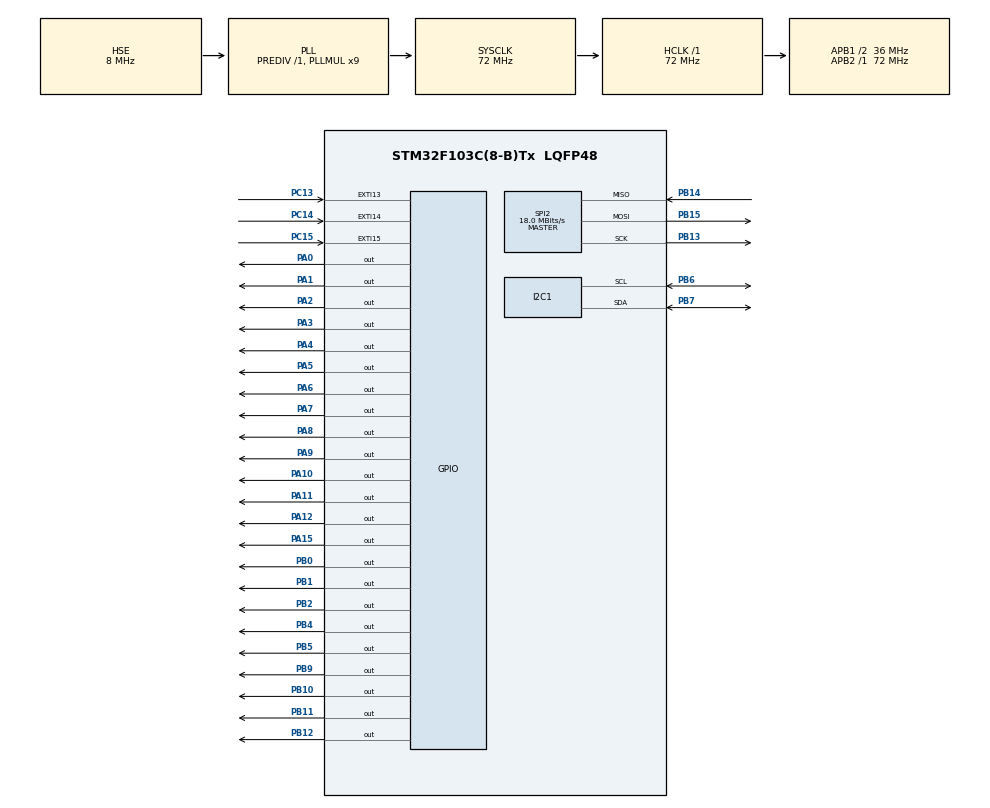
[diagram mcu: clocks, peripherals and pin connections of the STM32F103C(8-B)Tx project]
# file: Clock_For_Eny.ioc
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FREERTOS.INCLUDE_eTaskGetState=0
FREERTOS.INCLUDE_xTaskGetCurrentTaskHandle=1
FREERTOS.Mutexes01=mutexControlI2C,Dynamic,NULL
FREERTOS.Tasks01=mainTask,0,256,MainTaskFunction,Default,NULL,Dynamic,NULL,NULL;slideTask,-1,256,SlideTaskFunction,Default,NULL,Dynamic,NULL,NULL;ActionTask,1,256,ActionTaskFunction,Default,NULL,Dynamic,NULL,NULL;TFTgateKeeperTask,3,256,TFTgateKeeperTaskFunction,Default,NULL,Dynamic,NULL,NULL
FREERTOS.Timers01=countdownTimer,countdownTimerCallBack,osTimerPeriodic,Default,NULL,Dynamic,NULL
FREERTOS.configMAX_TASK_NAME_LEN=30
FREERTOS.configMINIMAL_STACK_SIZE=256
FREERTOS.configTIMER_QUEUE_LENGTH=5
FREERTOS.configTIMER_TASK_PRIORITY=6
FREERTOS.configTIMER_TASK_STACK_DEPTH=256
FREERTOS.configTOTAL_HEAP_SIZE=8000
FREERTOS.configUSE_TIMERS=1
I2C1.I2C_Mode=I2C_Fast
Mcu.Family=STM32F1
Mcu.Name=STM32F103C(8-B)Tx
Mcu.Package=LQFP48
NVIC.EXTI15_10_IRQn=true\:5\:0\:false\:false\:true\:true\:true
NVIC.PriorityGroup=NVIC_PRIORITYGROUP_4
NVIC.TIM2_IRQn=true\:0\:0\:false\:false\:true\:false\:false
NVIC.TimeBase=TIM2_IRQn
NVIC.TimeBaseIP=TIM2
PA0-WKUP.GPIO_ModeDefaultOutputPP=GPIO_MODE_OUTPUT_PP
PA0-WKUP.GPIO_Speed=GPIO_SPEED_FREQ_HIGH
PA0-WKUP.PinState=GPIO_PIN_RESET
PA0-WKUP.Signal=GPIO_Output
PA1.GPIO_ModeDefaultOutputPP=GPIO_MODE_OUTPUT_PP
PA1.GPIO_Speed=GPIO_SPEED_FREQ_HIGH
PA1.PinState=GPIO_PIN_RESET
PA1.Signal=GPIO_Output
PA10.GPIO_ModeDefaultOutputPP=GPIO_MODE_OUTPUT_PP
PA10.GPIO_Speed=GPIO_SPEED_FREQ_HIGH
PA10.PinState=GPIO_PIN_RESET
PA10.Signal=GPIO_Output
PA11.GPIO_ModeDefaultOutputPP=GPIO_MODE_OUTPUT_PP
PA11.GPIO_Speed=GPIO_SPEED_FREQ_HIGH
PA11.PinState=GPIO_PIN_RESET
PA11.Signal=GPIO_Output
PA12.GPIO_ModeDefaultOutputPP=GPIO_MODE_OUTPUT_PP
PA12.GPIO_Speed=GPIO_SPEED_FREQ_HIGH
PA12.PinState=GPIO_PIN_RESET
PA12.Signal=GPIO_Output
PA13.Mode=Serial_Wire
PA13.Signal=SYS_JTMS-SWDIO
PA14.Mode=Serial_Wire
PA14.Signal=SYS_JTCK-SWCLK
PA15.GPIO_ModeDefaultOutputPP=GPIO_MODE_OUTPUT_PP
PA15.GPIO_Speed=GPIO_SPEED_FREQ_HIGH
PA15.PinState=GPIO_PIN_SET
PA15.Signal=GPIO_Output
PA2.GPIO_ModeDefaultOutputPP=GPIO_MODE_OUTPUT_PP
PA2.GPIO_Speed=GPIO_SPEED_FREQ_HIGH
PA2.PinState=GPIO_PIN_RESET
PA2.Signal=GPIO_Output
PA3.GPIO_ModeDefaultOutputPP=GPIO_MODE_OUTPUT_PP
PA3.GPIO_Speed=GPIO_SPEED_FREQ_HIGH
PA3.PinState=GPIO_PIN_RESET
PA3.Signal=GPIO_Output
PA4.GPIO_ModeDefaultOutputPP=GPIO_MODE_OUTPUT_PP
PA4.GPIO_Speed=GPIO_SPEED_FREQ_HIGH
PA4.PinState=GPIO_PIN_RESET
PA4.Signal=GPIO_Output
PA5.GPIO_ModeDefaultOutputPP=GPIO_MODE_OUTPUT_PP
PA5.GPIO_Speed=GPIO_SPEED_FREQ_HIGH
PA5.PinState=GPIO_PIN_RESET
PA5.Signal=GPIO_Output
PA6.GPIO_ModeDefaultOutputPP=GPIO_MODE_OUTPUT_PP
PA6.GPIO_Speed=GPIO_SPEED_FREQ_HIGH
PA6.PinState=GPIO_PIN_RESET
PA6.Signal=GPIO_Output
PA7.GPIO_ModeDefaultOutputPP=GPIO_MODE_OUTPUT_PP
PA7.GPIO_Speed=GPIO_SPEED_FREQ_HIGH
PA7.PinState=GPIO_PIN_RESET
PA7.Signal=GPIO_Output
PA8.GPIO_ModeDefaultOutputPP=GPIO_MODE_OUTPUT_PP
PA8.GPIO_Speed=GPIO_SPEED_FREQ_HIGH
PA8.PinState=GPIO_PIN_RESET
PA8.Signal=GPIO_Output
PA9.GPIO_ModeDefaultOutputPP=GPIO_MODE_OUTPUT_PP
PA9.GPIO_Speed=GPIO_SPEED_FREQ_HIGH
PA9.PinState=GPIO_PIN_RESET
PA9.Signal=GPIO_Output
PB0.GPIO_ModeDefaultOutputPP=GPIO_MODE_OUTPUT_PP
PB0.GPIO_Speed=GPIO_SPEED_FREQ_HIGH
PB0.PinState=GPIO_PIN_RESET
PB0.Signal=GPIO_Output
PB1.GPIO_ModeDefaultOutputPP=GPIO_MODE_OUTPUT_PP
PB1.GPIO_Speed=GPIO_SPEED_FREQ_HIGH
PB1.PinState=GPIO_PIN_RESET
PB1.Signal=GPIO_Output
PB10.GPIO_ModeDefaultOutputPP=GPIO_MODE_OUTPUT_PP
PB10.GPIO_Speed=GPIO_SPEED_FREQ_HIGH
PB10.PinState=GPIO_PIN_RESET
PB10.Signal=GPIO_Output
PB11.GPIO_ModeDefaultOutputPP=GPIO_MODE_OUTPUT_PP
PB11.GPIO_Speed=GPIO_SPEED_FREQ_HIGH
PB11.PinState=GPIO_PIN_RESET
PB11.Signal=GPIO_Output
PB12.GPIO_ModeDefaultOutputPP=GPIO_MODE_OUTPUT_PP
PB12.GPIO_Speed=GPIO_SPEED_FREQ_HIGH
PB12.PinState=GPIO_PIN_RESET
PB12.Signal=GPIO_Output
PB13.Mode=Full_Duplex_Master
PB13.Signal=SPI2_SCK
PB14.Mode=Full_Duplex_Master
PB14.Signal=SPI2_MISO
PB15.Mode=Full_Duplex_Master
PB15.Signal=SPI2_MOSI
PB2.GPIO_ModeDefaultOutputPP=GPIO_MODE_OUTPUT_PP
PB2.GPIO_Speed=GPIO_SPEED_FREQ_HIGH
PB2.PinState=GPIO_PIN_RESET
PB2.Signal=GPIO_Output
PB4.GPIO_ModeDefaultOutputPP=GPIO_MODE_OUTPUT_PP
PB4.GPIO_Speed=GPIO_SPEED_FREQ_HIGH
PB4.PinState=GPIO_PIN_RESET
PB4.Signal=GPIO_Output
PB5.GPIO_ModeDefaultOutputPP=GPIO_MODE_OUTPUT_PP
PB5.GPIO_Speed=GPIO_SPEED_FREQ_HIGH
PB5.PinState=GPIO_PIN_RESET
PB5.Signal=GPIO_Output
PB6.Mode=I2C
PB6.Signal=I2C1_SCL
PB7.Mode=I2C
PB7.Signal=I2C1_SDA
PB9.GPIO_ModeDefaultOutputPP=GPIO_MODE_OUTPUT_PP
PB9.GPIO_Speed=GPIO_SPEED_FREQ_HIGH
PB9.PinState=GPIO_PIN_RESET
PB9.Signal=GPIO_Output
PC13-TAMPER-RTC.Signal=GPXTI13
PC14-OSC32_IN.Signal=GPXTI14
PC15-OSC32_OUT.Signal=GPXTI15
PD0-OSC_IN.Mode=HSE-External-Oscillator
PD0-OSC_IN.Signal=RCC_OSC_IN
PD1-OSC_OUT.Mode=HSE-External-Oscillator
PD1-OSC_OUT.Signal=RCC_OSC_OUT
ProjectManager.HeapSize=0x200
ProjectManager.StackSize=0x400
ProjectManager.TargetToolchain=SW4STM32
RCC.AHBFreq_Value=72000000
RCC.APB1CLKDivider=RCC_HCLK_DIV2
RCC.APB1Freq_Value=36000000
RCC.APB1TimFreq_Value=72000000
RCC.APB2Freq_Value=72000000
RCC.APB2TimFreq_Value=72000000
RCC.HCLKFreq_Value=72000000
RCC.PLLMUL=RCC_PLL_MUL9
RCC.PLLSourceVirtual=RCC_PLLSOURCE_HSE
RCC.SYSCLKFreq_VALUE=72000000
RCC.SYSCLKSource=RCC_SYSCLKSOURCE_PLLCLK
RCC.USBFreq_Value=72000000
SPI2.BaudRatePrescaler=SPI_BAUDRATEPRESCALER_2
SPI2.CalculateBaudRate=18.0 MBits/s
SPI2.Direction=SPI_DIRECTION_2LINES
SPI2.Mode=SPI_MODE_MASTER
SPI2.VirtualType=VM_MASTER
VP_FREERTOS_VS_ENABLE.Mode=Enabled
VP_SYS_VS_tim2.Mode=TIM2
board=Clock_For_Eny

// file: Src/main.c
/**
 ******************************************************************************
 * File Name          : main.c
 * Description        : Main program body
 ******************************************************************************
 * This notice applies to any and all portions of this file
 * that are not between comment pairs USER CODE BEGIN and
 * USER CODE END. Other portions of this file, whether
 * inserted by the user or by software development tools
 * are owned by their respective copyright owners.
 *
 * Copyright (c) 2017 STMicroelectronics International N.V.
 * All rights reserved.
 *
 * Redistribution and use in source and binary forms, with or without
 * modification, are permitted, provided that the following conditions are met:
 *
 * 1. Redistribution of source code must retain the above copyright notice,
 *    this list of conditions and the following disclaimer.
 * 2. Redistributions in binary form must reproduce the above copyright notice,
 *    this list of conditions and the following disclaimer in the documentation
 *    and/or other materials provided with the distribution.
 * 3. Neither the name of STMicroelectronics nor the names of other
 *    contributors to this software may be used to endorse or promote products
 *    derived from this software without specific written permission.
 * 4. This software, including modifications and/or derivative works of this
 *    software, must execute solely and exclusively on microcontroller or
 *    microprocessor devices manufactured by or for STMicroelectronics.
 * 5. Redistribution and use of this software other than as permitted under
 *    this license is void and will automatically terminate your rights under
 *    this license.
 *
 * THIS SOFTWARE IS PROVIDED BY STMICROELECTRONICS AND CONTRIBUTORS "AS IS"
 * AND ANY EXPRESS, IMPLIED OR STATUTORY WARRANTIES, INCLUDING, BUT NOT
 * LIMITED TO, THE IMPLIED WARRANTIES OF MERCHANTABILITY, FITNESS FOR A
 * PARTICULAR PURPOSE AND NON-INFRINGEMENT OF THIRD PARTY INTELLECTUAL PROPERTY
 * RIGHTS ARE DISCLAIMED TO THE FULLEST EXTENT PERMITTED BY LAW. IN NO EVENT
 * SHALL STMICROELECTRONICS OR CONTRIBUTORS BE LIABLE FOR ANY DIRECT, INDIRECT,
 * INCIDENTAL, SPECIAL, EXEMPLARY, OR CONSEQUENTIAL DAMAGES (INCLUDING, BUT NOT
 * LIMITED TO, PROCUREMENT OF SUBSTITUTE GOODS OR SERVICES; LOSS OF USE, DATA,
 * OR PROFITS; OR BUSINESS INTERRUPTION) HOWEVER CAUSED AND ON ANY THEORY OF
 * LIABILITY, WHETHER IN CONTRACT, STRICT LIABILITY, OR TORT (INCLUDING
 * NEGLIGENCE OR OTHERWISE) ARISING IN ANY WAY OUT OF THE USE OF THIS SOFTWARE,
 * EVEN IF ADVISED OF THE POSSIBILITY OF SUCH DAMAGE.
 *
 ******************************************************************************
 */

#include "main.h"
#include "stm32f1xx_hal.h"
#include "cmsis_os.h"
#include "i2c.h"
#include "spi.h"
#include "gpio.h"

/* USER CODE BEGIN Includes */

/* TFT LCD 240x320 using 9341 driver chip */
#include	"tft9341.h"

#include	"hdc1080.h"

#include	"Application.h"
/* USER CODE END Includes */

/* USER CODE BEGIN PV */
/* Private variables ---------------------------------------------------------*/
extern uint16_t BACK_COLOR,POINT_COLOR ;

W25QXX_Handle_TypeDef flash_64kbits = { &hspi2, GPIOA, GPIO_PIN_15 };
EClock_HandleTypeDef eClock_HandleTypeDef;

/* USER CODE END PV */

void SystemClock_Config(void);
void MX_FREERTOS_Init(void);

/* USER CODE BEGIN PFP */
/* Private function prototypes -----------------------------------------------*/

/* USER CODE END PFP */

int main(void)
{

	/* MCU Configuration----------------------------------------------------------*/

	/* Reset of all peripherals, Initializes the Flash interface and the Systick. */
	HAL_Init();

	/* Configure the system clock */
	SystemClock_Config();

	/* Initialize all configured peripherals */
	MX_GPIO_Init();
	MX_SPI2_Init();
	MX_I2C1_Init();

	/* USER CODE BEGIN 2 */
	tft_init();
	POINT_COLOR = TIME_DISPLAY_COLOR;
	BACK_COLOR = BACKGROUND_COLOR;

	hdc1080_init(&hi2c1, Temperature_Resolution_14_bit, Humidity_Resolution_14_bit);

	/* Eclock handle Init */
	eClock_HandleTypeDef.eClockHardware.Speaker_Port = SPEAKER_PORT;
	eClock_HandleTypeDef.eClockHardware.Speaker_Pin = SPEAKER_PIN;

	eClock_HandleTypeDef.eClockHardware.BT_Mode_Port = BT_MODE_PORT;
	eClock_HandleTypeDef.eClockHardware.BT_Mode_Pin = BT_MODE_PIN;

	eClock_HandleTypeDef.eClockHardware.BT_Up_Port = BT_UP_PORT;
	eClock_HandleTypeDef.eClockHardware.BT_Up_Pin = BT_UP_PIN;

	eClock_HandleTypeDef.eClockHardware.BT_Down_Port = BT_DOWN_PORT;
	eClock_HandleTypeDef.eClockHardware.BT_Down_Pin = BT_DOWN_PIN;

	eClock_HandleTypeDef.eClockMode = EClockMode_Normal;
	eClock_HandleTypeDef.eClockSystemState = EClockSystemState_Start;

	eClock_HandleTypeDef.eflash = &flash_64kbits;

	eClock_HandleTypeDef.eperiod_read_temhumi = PERIOD_READ_TEMP_HUMI;
	eClock_HandleTypeDef.eperiod_read_time = PERIOD_READ_TIME;

	for(uint8_t index = 0; index < 7; index ++)
	{
		*(eClock_HandleTypeDef.etime_value + index) = 0xff;
	}

	/* USER CODE END 2 */

	/* Call init function for freertos objects (in freertos.c) */
	MX_FREERTOS_Init();

	/* Start scheduler */
	osKernelStart();

	/* We should never get here as control is now taken by the scheduler */

	/* Infinite loop */
	while (1)
	{

	}

}

/** System Clock Configuration
 */
void SystemClock_Config(void)
{

	RCC_OscInitTypeDef RCC_OscInitStruct;
	RCC_ClkInitTypeDef RCC_ClkInitStruct;

	/**Initializes the CPU, AHB and APB busses clocks
	 */
	RCC_OscInitStruct.OscillatorType = RCC_OSCILLATORTYPE_HSE;
	RCC_OscInitStruct.HSEState = RCC_HSE_ON;
	RCC_OscInitStruct.HSEPredivValue = RCC_HSE_PREDIV_DIV1;
	RCC_OscInitStruct.HSIState = RCC_HSI_ON;
	RCC_OscInitStruct.PLL.PLLState = RCC_PLL_ON;
	RCC_OscInitStruct.PLL.PLLSource = RCC_PLLSOURCE_HSE;
	RCC_OscInitStruct.PLL.PLLMUL = RCC_PLL_MUL9;
	if (HAL_RCC_OscConfig(&RCC_OscInitStruct) != HAL_OK)
	{
		_Error_Handler(__FILE__, __LINE__);
	}

	/**Initializes the CPU, AHB and APB busses clocks
	 */
	RCC_ClkInitStruct.ClockType = RCC_CLOCKTYPE_HCLK|RCC_CLOCKTYPE_SYSCLK
			|RCC_CLOCKTYPE_PCLK1|RCC_CLOCKTYPE_PCLK2;
	RCC_ClkInitStruct.SYSCLKSource = RCC_SYSCLKSOURCE_PLLCLK;
	RCC_ClkInitStruct.AHBCLKDivider = RCC_SYSCLK_DIV1;
	RCC_ClkInitStruct.APB1CLKDivider = RCC_HCLK_DIV2;
	RCC_ClkInitStruct.APB2CLKDivider = RCC_HCLK_DIV1;

	if (HAL_RCC_ClockConfig(&RCC_ClkInitStruct, FLASH_LATENCY_2) != HAL_OK)
	{
		_Error_Handler(__FILE__, __LINE__);
	}

	/**Configure the Systick interrupt time
	 */
	HAL_SYSTICK_Config(HAL_RCC_GetHCLKFreq()/1000);

	/**Configure the Systick
	 */
	HAL_SYSTICK_CLKSourceConfig(SYSTICK_CLKSOURCE_HCLK);

	/* SysTick_IRQn interrupt configuration */
	HAL_NVIC_SetPriority(SysTick_IRQn, 15, 0);
}

void HAL_TIM_PeriodElapsedCallback(TIM_HandleTypeDef *htim)
{
	if (htim->Instance == TIM2) {
		HAL_IncTick();
	}
}

void _Error_Handler(char * file, int line)
{
	while(1)
	{
	}
}

/************************ (C) COPYRIGHT STMicroelectronics *****END OF FILE****/

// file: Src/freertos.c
/**
 ******************************************************************************
 * File Name          : freertos.c
 * Description        : Code for freertos applications
 ******************************************************************************
 * This notice applies to any and all portions of this file
 * that are not between comment pairs USER CODE BEGIN and
 * USER CODE END. Other portions of this file, whether
 * inserted by the user or by software development tools
 * are owned by their respective copyright owners.
 *
 * Copyright (c) 2017 STMicroelectronics International N.V.
 * All rights reserved.
 *
 * Redistribution and use in source and binary forms, with or without
 * modification, are permitted, provided that the following conditions are met:
 *
 * 1. Redistribution of source code must retain the above copyright notice,
 *    this list of conditions and the following disclaimer.
 * 2. Redistributions in binary form must reproduce the above copyright notice,
 *    this list of conditions and the following disclaimer in the documentation
 *    and/or other materials provided with the distribution.
 * 3. Neither the name of STMicroelectronics nor the names of other
 *    contributors to this software may be used to endorse or promote products
 *    derived from this software without specific written permission.
 * 4. This software, including modifications and/or derivative works of this
 *    software, must execute solely and exclusively on microcontroller or
 *    microprocessor devices manufactured by or for STMicroelectronics.
 * 5. Redistribution and use of this software other than as permitted under
 *    this license is void and will automatically terminate your rights under
 *    this license.
 *
 * THIS SOFTWARE IS PROVIDED BY STMICROELECTRONICS AND CONTRIBUTORS "AS IS"
 * AND ANY EXPRESS, IMPLIED OR STATUTORY WARRANTIES, INCLUDING, BUT NOT
 * LIMITED TO, THE IMPLIED WARRANTIES OF MERCHANTABILITY, FITNESS FOR A
 * PARTICULAR PURPOSE AND NON-INFRINGEMENT OF THIRD PARTY INTELLECTUAL PROPERTY
 * RIGHTS ARE DISCLAIMED TO THE FULLEST EXTENT PERMITTED BY LAW. IN NO EVENT
 * SHALL STMICROELECTRONICS OR CONTRIBUTORS BE LIABLE FOR ANY DIRECT, INDIRECT,
 * INCIDENTAL, SPECIAL, EXEMPLARY, OR CONSEQUENTIAL DAMAGES (INCLUDING, BUT NOT
 * LIMITED TO, PROCUREMENT OF SUBSTITUTE GOODS OR SERVICES; LOSS OF USE, DATA,
 * OR PROFITS; OR BUSINESS INTERRUPTION) HOWEVER CAUSED AND ON ANY THEORY OF
 * LIABILITY, WHETHER IN CONTRACT, STRICT LIABILITY, OR TORT (INCLUDING
 * NEGLIGENCE OR OTHERWISE) ARISING IN ANY WAY OUT OF THE USE OF THIS SOFTWARE,
 * EVEN IF ADVISED OF THE POSSIBILITY OF SUCH DAMAGE.
 *
 ******************************************************************************
 */

#include "FreeRTOS.h"
#include "task.h"
#include "cmsis_os.h"

/* USER CODE BEGIN Includes */

#include 	"stdio.h"
#include	"stdlib.h"

/* TFT LCD 240x320 using 9341 driver chip */
#include	"tft9341.h"

/* Flash W25Q64 for 64kbit (8Mbytes) image data */
#include	"w25qxx_flash.h"

/* Temperature and Humidity Sensor HDC1080 */
#include	"hdc1080.h"

#include	"spi.h"

#include	"i2c.h"

#include 	"time.h"

#include	"Application.h"
/* USER CODE END Includes */

osThreadId mainTaskHandle;
osThreadId slideTaskHandle;
osThreadId ActionTaskHandle;
osThreadId TFTgateKeeperTaskHandle;
osTimerId countdownTimerHandle;
osMutexId mutexControlI2CHandle;

/* USER CODE BEGIN Variables */
QueueHandle_t queueControlTFT;

extern uint16_t POINT_COLOR,BACK_COLOR ;
extern EClock_HandleTypeDef eClock_HandleTypeDef;

uint8_t time_value_temp[7] = { 0 };
uint8_t string_buffer[20];
volatile static uint8_t suspendTaskFlag = 0, time_out = 10;
static uint8_t pressModeCount = 0;

/* USER CODE END Variables */

void MainTaskFunction(void const * argument);
void SlideTaskFunction(void const * argument);
void ActionTaskFunction(void const * argument);
void TFTgateKeeperTaskFunction(void const * argument);
void countdownTimerCallBack(void const * argument);

void MX_FREERTOS_Init(void); /* (MISRA C 2004 rule 8.1) */

/* USER CODE BEGIN FunctionPrototypes */

/* Read image from flash then display it on TFTLCD
 * image_id from 0 to 53 ( 54 Images )
 */
void Display_Image(W25QXX_Handle_TypeDef * flash_data, uint8_t image_id);

void Display_Template(W25QXX_Handle_TypeDef * flash_data, uint8_t img_id);

void Play_Speaker(GPIO_TypeDef* Speaker_port, uint16_t Speaker_pin, uint8_t number_of_play);
/* USER CODE END FunctionPrototypes */

/* Hook prototypes */

/* Init FreeRTOS */

void MX_FREERTOS_Init(void) {

	/* Create the mutex(es) */
	/* definition and creation of mutexControlI2C */
	osMutexDef(mutexControlI2C);
	mutexControlI2CHandle = osMutexCreate(osMutex(mutexControlI2C));

	/* Create the timer(s) */
	/* definition and creation of countdownTimer */
	osTimerDef(countdownTimer, countdownTimerCallBack);
	countdownTimerHandle = osTimerCreate(osTimer(countdownTimer), osTimerPeriodic, NULL);

	/* Create the thread(s) */
	/* definition and creation of mainTask */
	osThreadDef(mainTask, MainTaskFunction, osPriorityNormal, 0, 256);
	mainTaskHandle = osThreadCreate(osThread(mainTask), NULL);

	/* definition and creation of slideTask */
	osThreadDef(slideTask, SlideTaskFunction, osPriorityBelowNormal, 0, 256);
	slideTaskHandle = osThreadCreate(osThread(slideTask), NULL);

	/* definition and creation of ActionTask */
	osThreadDef(ActionTask, ActionTaskFunction, osPriorityAboveNormal, 0, 256);
	ActionTaskHandle = osThreadCreate(osThread(ActionTask), NULL);

	/* definition and creation of TFTgateKeeperTask */
	osThreadDef(TFTgateKeeperTask, TFTgateKeeperTaskFunction, osPriorityRealtime, 0, 256);
	TFTgateKeeperTaskHandle = osThreadCreate(osThread(TFTgateKeeperTask), NULL);

	/* USER CODE BEGIN RTOS_QUEUES */
	/* add queues, ... */
	queueControlTFT	=	xQueueCreate(10,sizeof(TFTGateKeeperHandleTypedef));
	/* USER CODE END RTOS_QUEUES */
}

/* MainTaskFunction function */
void MainTaskFunction(void const * argument)
{

	/* USER CODE BEGIN MainTaskFunction */
	UNUSED(argument);
	uint8_t i;
	static	uint8_t dot_flag = 1;
	TFTGateKeeperHandleTypedef sSend = {TFT_FONT_TEMPLATE, (uint8_t*)"",TIME_DISPLAY_COLOR,0,0,0,0,TFT_STRING_MODE_BACKGROUND };

	srand(time(0));

	//Display template
	xQueueSend(queueControlTFT, &sSend, portMAX_DELAY);

	Play_Speaker(eClock_HandleTypeDef.eClockHardware.Speaker_Port, eClock_HandleTypeDef.eClockHardware.Speaker_Pin, 3);

	/* Infinite loop */
	while(1)
	{

		if(osMutexWait(mutexControlI2CHandle, osWaitForever) == osOK)
		{
			//Read time from RTC
			HAL_I2C_Mem_Read(&hi2c1, DS3231_ADD<<1, 0x00, I2C_MEMADD_SIZE_8BIT, time_value_temp, 7, 1000);
			osMutexRelease(mutexControlI2CHandle);
		}

		sSend.tftFontSize = TFT_FONT_26x48;
		sSend.rowIndex1 = HOUR_LOCAL_ROW;
		sSend.columnIndex1 = HOUR_LOCAL_COLUMN;

		//Check Time value and display time
		for(i = 0 ; i < 7 ; ++i)
		{
			if(*(eClock_HandleTypeDef.etime_value + i) != *(time_value_temp+i))
			{
				*(eClock_HandleTypeDef.etime_value + i) = *(time_value_temp+i);

				switch(i)
				{
				case 1: //Minus

					//random change image every PERIOD_CHANGING_IMAGE minutes.
					if((*(eClock_HandleTypeDef.etime_value + 1) % PERIOD_CHANGING_IMAGE == 0) && (eClock_HandleTypeDef.eClockSystemState == EClockSystemState_Running))
					{
						//Display template
						sSend.tftFontSize = TFT_FONT_TEMPLATE;
						xQueueSend(queueControlTFT, &sSend, portMAX_DELAY);

						//Display hour
						sprintf( (char*)string_buffer,"%02x" , *(eClock_HandleTypeDef.etime_value + 2));
						sSend.tftFontSize = TFT_FONT_26x48;
						sSend.data = string_buffer;
						xQueueSend(queueControlTFT, &sSend, portMAX_DELAY);

						//Display date/month
						sprintf((char*)string_buffer," %02x/%02x ",*(eClock_HandleTypeDef.etime_value + 4),*(eClock_HandleTypeDef.etime_value + 5));
						sSend.tftFontSize = TFT_FONT_14x24;
						sSend.rowIndex1 = MONTH_LOCAL_ROW;
						sSend.columnIndex1 = 17;
						sSend.data = string_buffer;
						xQueueSend(queueControlTFT, &sSend, portMAX_DELAY);
					}

					sprintf( (char*)string_buffer,"%02x"  , *(eClock_HandleTypeDef.etime_value + 1));
					sSend.tftFontSize = TFT_FONT_26x48;
					sSend.data = string_buffer;
					sSend.rowIndex1 = MINUS_LOCAL_ROW;
					sSend.columnIndex1 = MINUS_LOCAL_COLUMN;
					xQueueSend(queueControlTFT, &sSend, portMAX_DELAY);
					break;

				case 2: //Hour

					sprintf( (char*)string_buffer,"%02x" , *(eClock_HandleTypeDef.etime_value + 2));
					sSend.data = string_buffer;
					sSend.rowIndex1 = HOUR_LOCAL_ROW;
					sSend.columnIndex1 = HOUR_LOCAL_COLUMN;
					xQueueSend(queueControlTFT, &sSend, portMAX_DELAY);

					//If changing hour, play speaker when ( 6h AM <= hour <= 22h PM )
					if((*(eClock_HandleTypeDef.etime_value + 2) >= 0x06) && (*(eClock_HandleTypeDef.etime_value + 2) <= 0x22) && (eClock_HandleTypeDef.eClockSystemState == EClockSystemState_Running))
					{
						Play_Speaker(eClock_HandleTypeDef.eClockHardware.Speaker_Port, eClock_HandleTypeDef.eClockHardware.Speaker_Pin, 3);
					}

					if(eClock_HandleTypeDef.eClockSystemState == EClockSystemState_Start)
					{
						eClock_HandleTypeDef.eClockSystemState = EClockSystemState_Running;
					}
					break;
				}
			}
		}

		if(dot_flag) //Blink dot (:)
		{
			dot_flag = 0;
			sSend.color = TIME_DISPLAY_COLOR;
		}
		else
		{
			dot_flag = 1;
			sSend.color = BACKGROUND_COLOR;
		}

		sSend.data = (uint8_t*)":";
		sSend.rowIndex1 = DOT_LOCAL_ROW;
		sSend.columnIndex1 = DOT_LOCAL_COLUMN;
		xQueueSend(queueControlTFT, &sSend, portMAX_DELAY);
		sSend.color = TIME_DISPLAY_COLOR;

		osDelay(eClock_HandleTypeDef.eperiod_read_time);
	}
	/* USER CODE END MainTaskFunction */
}

/* SlideTaskFunction function */
void SlideTaskFunction(void const * argument)
{
	/* USER CODE BEGIN SlideTaskFunction */
	UNUSED(argument);
	static uint8_t slide_flag = 0;
	TFTGateKeeperHandleTypedef sSend = {TFT_FONT_14x24, (uint8_t*)"",TIME_DISPLAY_COLOR,MONTH_LOCAL_ROW,17,0,0,TFT_STRING_MODE_BACKGROUND };

	/* Infinite loop */
	while(1)
	{

		if(osMutexWait(mutexControlI2CHandle, osWaitForever) == osOK)
		{
			hdc1080_start_measurement(&hi2c1,&eClock_HandleTypeDef.etemperature,&eClock_HandleTypeDef.ehumidity);
			osMutexRelease(mutexControlI2CHandle);
		}

		switch(slide_flag)
		{
		case 0://Display temperature
			sprintf((char*)string_buffer,"%5.2f C",eClock_HandleTypeDef.etemperature);
			sSend.data = string_buffer;
			xQueueSend(queueControlTFT, &sSend, portMAX_DELAY);

			//Display Code for degree Celsius
			sSend.tftFontSize = TFT_FONT_SPECIAL;
			xQueueSend(queueControlTFT, &sSend, portMAX_DELAY);
			sSend.tftFontSize = TFT_FONT_14x24;
			break;

		case 1://Display Humidity
			sprintf((char*)string_buffer,"  %02d%%  ",eClock_HandleTypeDef.ehumidity);
			sSend.data = string_buffer;
			xQueueSend(queueControlTFT, &sSend, portMAX_DELAY);
			break;

		case 2://Display Date/Month
			sprintf((char*)string_buffer," %02x/%02x ",*(eClock_HandleTypeDef.etime_value + 4),*(eClock_HandleTypeDef.etime_value + 5));
			sSend.data = string_buffer;
			xQueueSend(queueControlTFT, &sSend, portMAX_DELAY);
			break;
		}

		if(++slide_flag == 3)
		{
			slide_flag = 0;
		}

		osDelay(eClock_HandleTypeDef.eperiod_read_temhumi);
	}

	/* USER CODE END SlideTaskFunction */
}

/* ActionTaskFunction function */
void ActionTaskFunction(void const * argument)
{
	/* USER CODE BEGIN ActionTaskFunction */
	static uint8_t  image_id_slide = 255;
	TFTGateKeeperHandleTypedef sSend = {TFT_FONT_26x48, (uint8_t*)"",TIME_DISPLAY_COLOR,HOUR_LOCAL_ROW_ST,HOUR_LOCAL_COLUMN_ST,0,0,TFT_STRING_MODE_BACKGROUND };
	osEvent eClockEvent;

	/* Infinite loop */
	for(;;)
	{
		eClockEvent = osSignalWait(BUTTON_MODE_SIGNAL|BUTTON_UP_SIGNAL|BUTTON_DOWN_SIGNAL,osWaitForever);

		time_out = 11;

		if(eClock_HandleTypeDef.eClockMode == EClockMode_Settime)
		{
			osTimerStart(countdownTimerHandle, 1000);
		}

		if(suspendTaskFlag)
		{
			//Suspend others task
			osThreadSuspend(mainTaskHandle);
			osThreadSuspend(slideTaskHandle);

			suspendTaskFlag = 0;

			if(eClock_HandleTypeDef.eClockMode == EClockMode_Settime)
			{
				for (uint8_t index = 0; index < 7; index++)
				{
					*(eClock_HandleTypeDef.etime_value + index) = Convert_Bcd2Dec(*(eClock_HandleTypeDef.etime_value + index));
				}
			}
		}

		switch (eClockEvent.value.signals)
		{
		case BUTTON_MODE_SIGNAL:
			if(eClock_HandleTypeDef.eClockMode == EClockMode_Settime)
			{
				if(!pressModeCount)//First press mode_button go to settime mode
				{
					//Clear Screen
					sSend.tftFontSize = TFT_FONT_CLEAR;
					xQueueSend(queueControlTFT,&sSend,portMAX_DELAY);

					//Display hour
					sprintf( (char*)string_buffer,"%02d" , *(eClock_HandleTypeDef.etime_value + 2));
					sSend.tftFontSize = TFT_FONT_26x48;
					sSend.data = string_buffer;
					sSend.rowIndex1 = HOUR_LOCAL_ROW_ST;
					sSend.columnIndex1 = HOUR_LOCAL_COLUMN_ST;
					xQueueSend(queueControlTFT,&sSend,portMAX_DELAY);

					sSend.columnIndex1 = 67;
					sSend.data = (uint8_t*)":";
					xQueueSend(queueControlTFT,&sSend,portMAX_DELAY);

					//Display minus
					sprintf( (char*)string_buffer,"%02d" , *(eClock_HandleTypeDef.etime_value + 1));
					sSend.data = string_buffer;
					sSend.rowIndex1 = MINUS_LOCAL_ROW_ST;
					sSend.columnIndex1 = MINUS_LOCAL_COLUMN_ST;
					xQueueSend(queueControlTFT,&sSend,portMAX_DELAY);

					sSend.columnIndex1 = 145;
					sSend.data = (uint8_t*)":";
					xQueueSend(queueControlTFT,&sSend,portMAX_DELAY);

					//Display second
					sprintf( (char*)string_buffer,"%02d" , *(eClock_HandleTypeDef.etime_value + 0));
					sSend.rowIndex1 = SECOND_LOCAL_ROW_ST;
					sSend.columnIndex1 = SECOND_LOCAL_COLUMN_ST;
					sSend.data = string_buffer;
					xQueueSend(queueControlTFT,&sSend,portMAX_DELAY);

					//Display date
					sprintf( (char*)string_buffer,"%02d" , *(eClock_HandleTypeDef.etime_value + 4));
					sSend.rowIndex1 = DATE_LOCAL_ROW_ST;
					sSend.columnIndex1 = DATE_LOCAL_COLUMN_ST;
					xQueueSend(queueControlTFT,&sSend,portMAX_DELAY);

					sSend.columnIndex1 = 67;
					sSend.data = (uint8_t*)"/";
					xQueueSend(queueControlTFT,&sSend,portMAX_DELAY);

					//Display month
					sprintf( (char*)string_buffer,"%02d" , *(eClock_HandleTypeDef.etime_value + 5));
					sSend.rowIndex1 = MONTH_LOCAL_ROW_ST;
					sSend.columnIndex1 = MONTH_LOCAL_COLUMN_ST;
					sSend.data = string_buffer;
					xQueueSend(queueControlTFT,&sSend,portMAX_DELAY);

					sSend.columnIndex1 = 145;
					sSend.data = (uint8_t*)"/";
					xQueueSend(queueControlTFT,&sSend,portMAX_DELAY);

					//Display year
					sprintf( (char*)string_buffer,"%02d" , *(eClock_HandleTypeDef.etime_value + 6));
					sSend.rowIndex1 = YEAR_LOCAL_ROW_ST;
					sSend.columnIndex1 = YEAR_LOCAL_COLUMN_ST;
					sSend.data = string_buffer;
					xQueueSend(queueControlTFT,&sSend,portMAX_DELAY);

					//Display day
					sSend.rowIndex1 = DAY_LOCAL_ROW_ST;
					sSend.columnIndex1 = DAY_LOCAL_COLUMN_ST;
					if( *(eClock_HandleTypeDef.etime_value + 3)!=1)
					{
						sprintf( (char*)string_buffer,"T%01d" , *(eClock_HandleTypeDef.etime_value + 3));
						sSend.data = string_buffer;
					}
					else
					{
						sSend.data = (uint8_t*)"CN";
					}
					xQueueSend(queueControlTFT,&sSend,portMAX_DELAY);

					//Focus hour
					sSend.rowIndex1 = HOUR_LOCAL_ROW_ST-1;
					sSend.columnIndex1 = HOUR_LOCAL_COLUMN_ST-1;
					sSend.rowIndex2 = HOUR_LOCAL_ROW_ST+49;
					sSend.columnIndex2 = HOUR_LOCAL_COLUMN_ST+51;
					sSend.color = FOCUS_COLOR;
					sSend.tftFontSize = TFT_FONT_DRAW_RECTANGLE;
					xQueueSend(queueControlTFT,&sSend,portMAX_DELAY);

					//Display Time out value (if time out = 0 go back to normal mode)
					sprintf((char*)string_buffer, "Time Out = %02d", time_out );
					sSend.rowIndex1 = 295;
					sSend.columnIndex1 = 0;
					sSend.color = TIME_DISPLAY_COLOR;
					sSend.tftFontSize = TFT_FONT_14x24;
					sSend.data = string_buffer;
					xQueueSend(queueControlTFT,&sSend,portMAX_DELAY);

				}
				else
				{
					switch (pressModeCount)
					{
					case 1:
						//Jump from focus hour to focus minus
						sSend.tftFontSize = TFT_FONT_DRAW_RECTANGLE;

						sSend.rowIndex1 = HOUR_LOCAL_ROW_ST-1;
						sSend.columnIndex1 = HOUR_LOCAL_COLUMN_ST-1;
						sSend.rowIndex2 = HOUR_LOCAL_ROW_ST+49;
						sSend.columnIndex2 = HOUR_LOCAL_COLUMN_ST+51;
						sSend.color = BACK_COLOR;
						xQueueSend(queueControlTFT,&sSend,portMAX_DELAY);

						sSend.rowIndex1 = MINUS_LOCAL_ROW_ST-1;
						sSend.columnIndex1 = MINUS_LOCAL_COLUMN_ST-1;
						sSend.columnIndex2 = MINUS_LOCAL_COLUMN_ST+51;
						sSend.color = FOCUS_COLOR;
						xQueueSend(queueControlTFT,&sSend,portMAX_DELAY);
						break;
					case 2:
						//Jump from focus minus to focus second
						sSend.tftFontSize = TFT_FONT_DRAW_RECTANGLE;

						sSend.rowIndex1 = MINUS_LOCAL_ROW_ST-1;
						sSend.columnIndex1 = MINUS_LOCAL_COLUMN_ST-1;
						sSend.rowIndex2 = HOUR_LOCAL_ROW_ST+49;
						sSend.columnIndex2 = MINUS_LOCAL_COLUMN_ST+51;
						sSend.color = BACK_COLOR;
						xQueueSend(queueControlTFT,&sSend,portMAX_DELAY);

						sSend.rowIndex1 = SECOND_LOCAL_ROW_ST-1;
						sSend.columnIndex1 = SECOND_LOCAL_COLUMN_ST-1;
						sSend.columnIndex2 = SECOND_LOCAL_COLUMN_ST+51;
						sSend.color = FOCUS_COLOR;
						xQueueSend(queueControlTFT,&sSend,portMAX_DELAY);
						break;
					case 3:
						//Jump from focus second to focus day
						sSend.tftFontSize = TFT_FONT_DRAW_RECTANGLE;
						sSend.rowIndex1 = SECOND_LOCAL_ROW_ST-1;
						sSend.columnIndex1 = SECOND_LOCAL_COLUMN_ST-1;
						sSend.rowIndex2 = HOUR_LOCAL_ROW_ST+49;
						sSend.columnIndex2 = SECOND_LOCAL_COLUMN_ST+51;
						sSend.color = BACK_COLOR;
						xQueueSend(queueControlTFT,&sSend,portMAX_DELAY);

						sSend.rowIndex1 = DAY_LOCAL_ROW_ST-1;
						sSend.columnIndex1 = DAY_LOCAL_COLUMN_ST-1;
						sSend.rowIndex2 = DAY_LOCAL_ROW_ST+49;
						sSend.columnIndex2 = DAY_LOCAL_COLUMN_ST+51;
						sSend.color = FOCUS_COLOR;
						xQueueSend(queueControlTFT,&sSend,portMAX_DELAY);
						break;
					case 4:
						//Jump from focus day to focus date
						sSend.tftFontSize = TFT_FONT_DRAW_RECTANGLE;
						sSend.rowIndex1 = DAY_LOCAL_ROW_ST-1;
						sSend.columnIndex1 = DAY_LOCAL_COLUMN_ST-1;
						sSend.rowIndex2 = DAY_LOCAL_ROW_ST+49;
						sSend.columnIndex2 = DAY_LOCAL_COLUMN_ST+51;
						sSend.color = BACK_COLOR;
						xQueueSend(queueControlTFT,&sSend,portMAX_DELAY);

						sSend.rowIndex1 = DATE_LOCAL_ROW_ST-1;
						sSend.columnIndex1 = DATE_LOCAL_COLUMN_ST-1;
						sSend.rowIndex2 = DATE_LOCAL_ROW_ST+49;
						sSend.columnIndex2 = DATE_LOCAL_COLUMN_ST+51;
						sSend.color = FOCUS_COLOR;
						xQueueSend(queueControlTFT,&sSend,portMAX_DELAY);
						break;
					case 5:
						//Jump from focus date to focus month
						sSend.tftFontSize = TFT_FONT_DRAW_RECTANGLE;
						sSend.rowIndex1 = DATE_LOCAL_ROW_ST-1;
						sSend.columnIndex1 = DATE_LOCAL_COLUMN_ST-1;
						sSend.rowIndex2 = DATE_LOCAL_ROW_ST+49;
						sSend.columnIndex2 = DATE_LOCAL_COLUMN_ST+51;
						sSend.color = BACK_COLOR;
						xQueueSend(queueControlTFT,&sSend,portMAX_DELAY);

						sSend.rowIndex1 = MONTH_LOCAL_ROW_ST-1;
						sSend.columnIndex1 = MONTH_LOCAL_COLUMN_ST-1;
						sSend.columnIndex2 = MONTH_LOCAL_COLUMN_ST+51;
						sSend.color = FOCUS_COLOR;
						xQueueSend(queueControlTFT,&sSend,portMAX_DELAY);
						break;
					case 6:
						//Jump from focus month to focus year
						sSend.tftFontSize = TFT_FONT_DRAW_RECTANGLE;
						sSend.rowIndex1 = MONTH_LOCAL_ROW_ST-1;
						sSend.columnIndex1 = MONTH_LOCAL_COLUMN_ST-1;
						sSend.rowIndex2 = DATE_LOCAL_ROW_ST+49;
						sSend.columnIndex2 = MONTH_LOCAL_COLUMN_ST+51;
						sSend.color = BACK_COLOR;
						xQueueSend(queueControlTFT,&sSend,portMAX_DELAY);

						sSend.rowIndex1 = YEAR_LOCAL_ROW_ST-1;
						sSend.columnIndex1 = YEAR_LOCAL_COLUMN_ST-1;
						sSend.columnIndex2 = YEAR_LOCAL_COLUMN_ST+51;
						sSend.color = FOCUS_COLOR;
						xQueueSend(queueControlTFT,&sSend,portMAX_DELAY);
						break;
					}
				}
				pressModeCount ++;
				if(pressModeCount == 8)
				{
					pressModeCount = 0;

					for (uint8_t index = 0; index < 7; index++)
					{
						*(eClock_HandleTypeDef.etime_value + index ) = Convert_Dec2Bcd(*(eClock_HandleTypeDef.etime_value + index));
					}

					if(osMutexWait(mutexControlI2CHandle, osWaitForever) == osOK)
					{
						//Write new time value to Ds3231
						HAL_I2C_Mem_Write(&hi2c1, DS3231_ADD<<1, 0x00, I2C_MEMADD_SIZE_8BIT, (uint8_t*)eClock_HandleTypeDef.etime_value, 7, 2000);
						osMutexRelease(mutexControlI2CHandle);
					}
					eClock_HandleTypeDef.eClockMode = EClockMode_Normal;

					//Display Template
					sSend.tftFontSize = TFT_FONT_TEMPLATE;
					xQueueSend(queueControlTFT,&sSend,portMAX_DELAY);

					//Display hour
					sprintf( (char*)string_buffer,"%02x" , *(eClock_HandleTypeDef.etime_value + 2));
					sSend.tftFontSize = TFT_FONT_26x48;
					sSend.data = string_buffer;
					sSend.rowIndex1 = HOUR_LOCAL_ROW;
					sSend.columnIndex1 = HOUR_LOCAL_COLUMN;
					sSend.color = TIME_DISPLAY_COLOR;
					xQueueSend(queueControlTFT,&sSend,portMAX_DELAY);

					//Display minus
					sprintf( (char*)string_buffer,"%02x"  , *(eClock_HandleTypeDef.etime_value + 1));
					sSend.rowIndex1 = MINUS_LOCAL_ROW;
					sSend.columnIndex1 = MINUS_LOCAL_COLUMN;
					xQueueSend(queueControlTFT,&sSend,portMAX_DELAY);

					//Display date/month
					sprintf((char*)string_buffer," %02x/%02x ",*(eClock_HandleTypeDef.etime_value + 4),*(eClock_HandleTypeDef.etime_value + 5));
					sSend.tftFontSize = TFT_FONT_14x24;
					sSend.rowIndex1 = MONTH_LOCAL_ROW;
					sSend.columnIndex1 = 17;
					xQueueSend(queueControlTFT,&sSend,portMAX_DELAY);

					Play_Speaker(eClock_HandleTypeDef.eClockHardware.Speaker_Port, eClock_HandleTypeDef.eClockHardware.Speaker_Pin, 2);

					osThreadResume(mainTaskHandle);
					osThreadResume(slideTaskHandle);
				}
			}
			else if(eClock_HandleTypeDef.eClockMode == EClockMode_Slide)
			{
				eClock_HandleTypeDef.eClockMode = EClockMode_Normal;

				//Display Template
				sSend.tftFontSize = TFT_FONT_TEMPLATE;
				xQueueSend(queueControlTFT,&sSend,portMAX_DELAY);

				//Display hour
				sprintf( (char*)string_buffer,"%02x" , *(eClock_HandleTypeDef.etime_value + 2));
				sSend.tftFontSize = TFT_FONT_26x48;
				sSend.data = string_buffer;
				sSend.rowIndex1 = HOUR_LOCAL_ROW;
				sSend.columnIndex1 = HOUR_LOCAL_COLUMN;
				sSend.color = TIME_DISPLAY_COLOR;
				xQueueSend(queueControlTFT,&sSend,portMAX_DELAY);

				//Display minute
				sprintf( (char*)string_buffer,"%02x"  , *(eClock_HandleTypeDef.etime_value + 1));
				sSend.rowIndex1 = MINUS_LOCAL_ROW;
				sSend.columnIndex1 = MINUS_LOCAL_COLUMN;
				xQueueSend(queueControlTFT,&sSend,portMAX_DELAY);

				//Display date/month
				sprintf((char*)string_buffer," %02x/%02x ",*(eClock_HandleTypeDef.etime_value + 4),*(eClock_HandleTypeDef.etime_value + 5));
				sSend.tftFontSize = TFT_FONT_14x24;
				sSend.rowIndex1 = MONTH_LOCAL_ROW;
				sSend.columnIndex1 = 17;
				xQueueSend(queueControlTFT,&sSend,portMAX_DELAY);

				osThreadResume(mainTaskHandle);
				osThreadResume(slideTaskHandle);
			}
			break;
		case BUTTON_UP_SIGNAL:
			switch ((uint8_t)eClock_HandleTypeDef.eClockMode)
			{
			case EClockMode_Settime:

				switch (pressModeCount)
				{
				case 1://Change hour
					(*(eClock_HandleTypeDef.etime_value+2)) ++;

					if(*(eClock_HandleTypeDef.etime_value+2) > 23 )
					{
						*(eClock_HandleTypeDef.etime_value+2) = 0;
					}
					sprintf( (char*)string_buffer,"%02d" ,*(eClock_HandleTypeDef.etime_value + 2));
					sSend.tftFontSize = TFT_FONT_26x48;
					sSend.data = string_buffer;
					sSend.color = TIME_DISPLAY_COLOR;
					sSend.rowIndex1 = HOUR_LOCAL_ROW_ST;
					sSend.columnIndex1 = HOUR_LOCAL_COLUMN_ST;
					sSend.color = TIME_DISPLAY_COLOR;
					xQueueSend(queueControlTFT,&sSend,portMAX_DELAY);
					break;
				case 2: //Change minute
					(*(eClock_HandleTypeDef.etime_value+1)) ++;
					if(*(eClock_HandleTypeDef.etime_value+1) > 59 )
					{
						*(eClock_HandleTypeDef.etime_value+1) = 0;
					}
					sprintf( (char*)string_buffer,"%02d" , *(eClock_HandleTypeDef.etime_value + 1));
					sSend.tftFontSize = TFT_FONT_26x48;
					sSend.color = TIME_DISPLAY_COLOR;
					sSend.rowIndex1 = MINUS_LOCAL_ROW_ST;
					sSend.columnIndex1 = MINUS_LOCAL_COLUMN_ST;
					sSend.data = string_buffer;
					xQueueSend(queueControlTFT,&sSend,portMAX_DELAY);
					break;
				case 3: //Change Second
					(*(eClock_HandleTypeDef.etime_value+0)) ++;
					if(*(eClock_HandleTypeDef.etime_value+0) > 59 )
					{
						*(eClock_HandleTypeDef.etime_value+0) = 0;
					}
					sprintf( (char*)string_buffer,"%02d" , *(eClock_HandleTypeDef.etime_value + 0));
					sSend.tftFontSize = TFT_FONT_26x48;
					sSend.color = TIME_DISPLAY_COLOR;
					sSend.rowIndex1 = SECOND_LOCAL_ROW_ST;
					sSend.columnIndex1 = SECOND_LOCAL_COLUMN_ST;
					xQueueSend(queueControlTFT,&sSend,portMAX_DELAY);
					break;
				case 4: //Change day
					(*(eClock_HandleTypeDef.etime_value+3)) ++;
					if(*(eClock_HandleTypeDef.etime_value+3) > 7 )
					{
						*(eClock_HandleTypeDef.etime_value+3) = 1;
					}

					sSend.rowIndex1 = DAY_LOCAL_ROW_ST;
					sSend.columnIndex1 = DAY_LOCAL_COLUMN_ST;

					if( *(eClock_HandleTypeDef.etime_value + 3)!=1)
					{
						sprintf( (char*)string_buffer,"T%01d" , *(eClock_HandleTypeDef.etime_value + 3));
						sSend.data = string_buffer;
					}
					else
					{
						sSend.data = (uint8_t*) "CN";
					}
					sSend.tftFontSize = TFT_FONT_26x48;
					sSend.color = TIME_DISPLAY_COLOR;
					xQueueSend(queueControlTFT,&sSend,portMAX_DELAY);
					break;
				case 5: //Change date
					(*(eClock_HandleTypeDef.etime_value+4)) ++;
					if(*(eClock_HandleTypeDef.etime_value+4) > 31 )
					{
						*(eClock_HandleTypeDef.etime_value+4) = 1;
					}
					sprintf( (char*)string_buffer,"%02d" , *(eClock_HandleTypeDef.etime_value + 4));
					sSend.tftFontSize = TFT_FONT_26x48;
					sSend.color = TIME_DISPLAY_COLOR;
					sSend.data = string_buffer;
					sSend.rowIndex1 = DATE_LOCAL_ROW_ST;
					sSend.columnIndex1 = DATE_LOCAL_COLUMN_ST;
					xQueueSend(queueControlTFT,&sSend,portMAX_DELAY);
					break;
				case 6: //Change month
					(*(eClock_HandleTypeDef.etime_value+5)) ++;
					if(*(eClock_HandleTypeDef.etime_value+5) > 12 )
					{
						*(eClock_HandleTypeDef.etime_value+5) = 1;
					}
					//Display month
					sprintf( (char*)string_buffer,"%02d" , *(eClock_HandleTypeDef.etime_value + 5));
					sSend.rowIndex1 = MONTH_LOCAL_ROW_ST;
					sSend.columnIndex1 = MONTH_LOCAL_COLUMN_ST;
					sSend.tftFontSize = TFT_FONT_26x48;
					sSend.color = TIME_DISPLAY_COLOR;
					xQueueSend(queueControlTFT,&sSend,portMAX_DELAY);
					break;
				case 7://Change year
					(*(eClock_HandleTypeDef.etime_value+6)) ++;
					if(*(eClock_HandleTypeDef.etime_value+6) > 99 )
					{
						*(eClock_HandleTypeDef.etime_value+6) = 0;
					}
					sprintf( (char*)string_buffer,"%02d" , *(eClock_HandleTypeDef.etime_value + 6));
					sSend.rowIndex1 = YEAR_LOCAL_ROW_ST;
					sSend.columnIndex1 = YEAR_LOCAL_COLUMN_ST;
					sSend.tftFontSize = TFT_FONT_26x48;
					sSend.color = TIME_DISPLAY_COLOR;
					xQueueSend(queueControlTFT,&sSend,portMAX_DELAY);
					break;
				}
				break;
				case EClockMode_Slide:

					if(++image_id_slide >53)
					{
						image_id_slide = 0;
					}

					//Display Image
					sSend.tftFontSize = TFT_FONT_IMAGE;
					sSend.rowIndex1 = image_id_slide;
					xQueueSend(queueControlTFT,&sSend,portMAX_DELAY);

					//Display Image Id
					sprintf( (char*)string_buffer,"%02d" , image_id_slide);
					sSend.tftFontSize = TFT_FONT_14x24;
					sSend.data = string_buffer;
					sSend.rowIndex1 = 296;
					sSend.columnIndex1 = 0;
					sSend.color = TIME_DISPLAY_COLOR;
					xQueueSend(queueControlTFT,&sSend,portMAX_DELAY);
					break;
			}
			break;
			case BUTTON_DOWN_SIGNAL:
				switch ((uint8_t)eClock_HandleTypeDef.eClockMode)
				{
				case EClockMode_Settime:

					switch (pressModeCount)
					{
					case 1://Change hour
						(*(eClock_HandleTypeDef.etime_value+2)) --;

						if(*(eClock_HandleTypeDef.etime_value+2) == 255 )
						{
							*(eClock_HandleTypeDef.etime_value+2) = 23;
						}
						sprintf( (char*)string_buffer,"%02d" , *(eClock_HandleTypeDef.etime_value + 2));
						sSend.tftFontSize = TFT_FONT_26x48;
						sSend.data = string_buffer;
						sSend.rowIndex1 = HOUR_LOCAL_ROW_ST;
						sSend.columnIndex1 = HOUR_LOCAL_COLUMN_ST;
						sSend.color = TIME_DISPLAY_COLOR;
						xQueueSend(queueControlTFT,&sSend,portMAX_DELAY);
						break;
					case 2: //Change minute
						(*(eClock_HandleTypeDef.etime_value+1)) --;
						if(*(eClock_HandleTypeDef.etime_value+1) == 255 )
						{
							*(eClock_HandleTypeDef.etime_value+1) = 59;
						}
						sprintf( (char*)string_buffer,"%02d" , *(eClock_HandleTypeDef.etime_value + 1));
						sSend.tftFontSize = TFT_FONT_26x48;
						sSend.color = TIME_DISPLAY_COLOR;
						sSend.rowIndex1 = MINUS_LOCAL_ROW_ST;
						sSend.columnIndex1 = MINUS_LOCAL_COLUMN_ST;
						xQueueSend(queueControlTFT,&sSend,portMAX_DELAY);
						break;
					case 3: //Change Second
						(*(eClock_HandleTypeDef.etime_value+0)) --;
						if(*(eClock_HandleTypeDef.etime_value+0) == 255 )
						{
							*(eClock_HandleTypeDef.etime_value+0) = 59;
						}
						sprintf( (char*)string_buffer,"%02d" , *(eClock_HandleTypeDef.etime_value + 0));
						sSend.tftFontSize = TFT_FONT_26x48;
						sSend.color = TIME_DISPLAY_COLOR;
						sSend.rowIndex1 = SECOND_LOCAL_ROW_ST;
						sSend.columnIndex1 = SECOND_LOCAL_COLUMN_ST;
						xQueueSend(queueControlTFT,&sSend,portMAX_DELAY);
						break;
					case 4: //Change day
						(*(eClock_HandleTypeDef.etime_value+3)) --;
						if(*(eClock_HandleTypeDef.etime_value+3) < 1 )
						{
							*(eClock_HandleTypeDef.etime_value+3) = 7;
						}
						sSend.rowIndex1 = DAY_LOCAL_ROW_ST;
						sSend.columnIndex1 = DAY_LOCAL_COLUMN_ST;

						if( *(eClock_HandleTypeDef.etime_value + 3)!=1)
						{
							sprintf( (char*)string_buffer,"T%01d" , *(eClock_HandleTypeDef.etime_value + 3));
							sSend.data = string_buffer;
						}
						else
						{
							sSend.data = (uint8_t *)"CN";
						}
						sSend.tftFontSize = TFT_FONT_26x48;
						sSend.color = TIME_DISPLAY_COLOR;
						xQueueSend(queueControlTFT,&sSend,portMAX_DELAY);
						break;
					case 5: //Change date
						(*(eClock_HandleTypeDef.etime_value+4)) --;
						if(*(eClock_HandleTypeDef.etime_value+4) < 1 )
						{
							*(eClock_HandleTypeDef.etime_value+4) = 31;
						}
						sprintf( (char*)string_buffer,"%02d" , *(eClock_HandleTypeDef.etime_value + 4));

						sSend.data = string_buffer;
						sSend.rowIndex1 = DATE_LOCAL_ROW_ST;
						sSend.columnIndex1 = DATE_LOCAL_COLUMN_ST;
						sSend.tftFontSize = TFT_FONT_26x48;
						sSend.color = TIME_DISPLAY_COLOR;
						xQueueSend(queueControlTFT,&sSend,portMAX_DELAY);
						break;
					case 6: //Change month
						(*(eClock_HandleTypeDef.etime_value+5)) --;
						if(*(eClock_HandleTypeDef.etime_value+5) < 1 )
						{
							*(eClock_HandleTypeDef.etime_value+5) = 12;
						}
						//Display month
						sprintf( (char*)string_buffer,"%02d" , *(eClock_HandleTypeDef.etime_value + 5));
						sSend.rowIndex1 = MONTH_LOCAL_ROW_ST;
						sSend.columnIndex1 = MONTH_LOCAL_COLUMN_ST;
						sSend.tftFontSize = TFT_FONT_26x48;
						sSend.color = TIME_DISPLAY_COLOR;
						xQueueSend(queueControlTFT,&sSend,portMAX_DELAY);
						break;
					case 7://Change year
						(*(eClock_HandleTypeDef.etime_value+6)) -- ;
						if(*(eClock_HandleTypeDef.etime_value+6) == 255 )
						{
							*(eClock_HandleTypeDef.etime_value+6) = 99;
						}
						sprintf( (char*)string_buffer,"%02d" , *(eClock_HandleTypeDef.etime_value + 6));
						sSend.rowIndex1 = YEAR_LOCAL_ROW_ST;
						sSend.columnIndex1 = YEAR_LOCAL_COLUMN_ST;
						sSend.tftFontSize = TFT_FONT_26x48;
						sSend.color = TIME_DISPLAY_COLOR;
						xQueueSend(queueControlTFT,&sSend,portMAX_DELAY);
						break;
					}
					break;
					case EClockMode_Slide:
						if(--image_id_slide == 255)
						{
							image_id_slide = 53;
						}

						//Display Image
						sSend.tftFontSize = TFT_FONT_IMAGE;
						sSend.rowIndex1 = image_id_slide;
						xQueueSend(queueControlTFT,&sSend,portMAX_DELAY);

						//Display Image Id
						sprintf( (char*)string_buffer,"%02d" , image_id_slide);
						sSend.tftFontSize = TFT_FONT_14x24;
						sSend.rowIndex1 = 296;
						sSend.columnIndex1 = 0;
						sSend.data = string_buffer;
						sSend.color = TIME_DISPLAY_COLOR;
						xQueueSend(queueControlTFT,&sSend,portMAX_DELAY);

						break;
				}
				break;
		}

	}
	/* USER CODE END ActionTaskFunction */
}

/* TFTgateKeeperTaskFunction function */
void TFTgateKeeperTaskFunction(void const * argument)
{
	/* USER CODE BEGIN TFTgateKeeperTaskFunction */
	TFTGateKeeperHandleTypedef prvTFTHandle;
	/* Infinite loop */
	for(;;)
	{
		if(xQueueReceive(queueControlTFT, &prvTFTHandle, portMAX_DELAY) == pdTRUE)
		{
			if(prvTFTHandle.color != POINT_COLOR)
			{
				POINT_COLOR = prvTFTHandle.color;
			}

			switch (prvTFTHandle.tftFontSize)
			{
			case TFT_FONT_14x24:
				tft_puts14x24(prvTFTHandle.rowIndex1 , prvTFTHandle.columnIndex1 , (int8_t*)prvTFTHandle.data , TFT_STRING_MODE_BACKGROUND);
				break;
			case TFT_FONT_26x48:
				tft_puts26x48(prvTFTHandle.rowIndex1 , prvTFTHandle.columnIndex1 , (int8_t*)prvTFTHandle.data , TFT_STRING_MODE_BACKGROUND);
				break;
			case TFT_FONT_SPECIAL:
				tft_putchar14x24(81,MONTH_LOCAL_ROW,128,TFT_STRING_MODE_BACKGROUND); // Display Code for degree Celsius
				break;
			case TFT_FONT_TEMPLATE:
				Display_Template(eClock_HandleTypeDef.eflash, rand() % 54);
				break;
			case TFT_FONT_CLEAR:
				tft_clear(BACK_COLOR);
				break;
			case TFT_FONT_DRAW_RECTANGLE:
				tft_draw_rectangle(prvTFTHandle.rowIndex1 , prvTFTHandle.columnIndex1, prvTFTHandle.rowIndex2 , prvTFTHandle.columnIndex2, prvTFTHandle.color);
				break;
			case TFT_FONT_IMAGE:
				Display_Image(eClock_HandleTypeDef.eflash, prvTFTHandle.rowIndex1);
				break;

			}
		}
	}
	/* USER CODE END TFTgateKeeperTaskFunction */
}

/* countdownTimerCallBack function */
void countdownTimerCallBack(void const * argument)
{
	/* USER CODE BEGIN countdownTimerCallBack */
	TFTGateKeeperHandleTypedef sSend = {TFT_FONT_14x24, string_buffer,TIME_DISPLAY_COLOR,295,140,0,0,TFT_STRING_MODE_BACKGROUND };

	time_out --;
	sprintf((char*)string_buffer, "%02d", time_out );
	xQueueSend(queueControlTFT,&sSend,0);

	if(time_out == 0)
	{
		osTimerStop(countdownTimerHandle);
		eClock_HandleTypeDef.eClockMode = EClockMode_Slide;
		pressModeCount = 0;
		for (uint8_t index = 0; index < 7; index++)
		{
			*(eClock_HandleTypeDef.etime_value + index) = Convert_Dec2Bcd(*(eClock_HandleTypeDef.etime_value + index));
		}
		osSignalSet(ActionTaskHandle,BUTTON_MODE_SIGNAL);
	}
	/* USER CODE END countdownTimerCallBack */
}

/* USER CODE BEGIN Application */

void HAL_GPIO_EXTI_Callback(uint16_t GPIO_Pin)
{
	switch(GPIO_Pin)
	{
	case BT_MODE_PIN:
		//Wait button is released
		while(HAL_GPIO_ReadPin(eClock_HandleTypeDef.eClockHardware.BT_Mode_Port,eClock_HandleTypeDef.eClockHardware.BT_Mode_Pin) == GPIO_PIN_SET);
		if(eClock_HandleTypeDef.eClockMode == EClockMode_Normal)
		{
			eClock_HandleTypeDef.eClockMode = EClockMode_Settime;
			suspendTaskFlag = 1;
		}
		osSignalSet(ActionTaskHandle,BUTTON_MODE_SIGNAL);
		break;

	case BT_UP_PIN:
		while(HAL_GPIO_ReadPin(eClock_HandleTypeDef.eClockHardware.BT_Up_Port,eClock_HandleTypeDef.eClockHardware.BT_Up_Pin) == GPIO_PIN_SET);
		if(eClock_HandleTypeDef.eClockMode == EClockMode_Normal)
		{
			eClock_HandleTypeDef.eClockMode = EClockMode_Slide;
			suspendTaskFlag = 1;
		}
		osSignalSet(ActionTaskHandle,BUTTON_UP_SIGNAL);
		break;

	case BT_DOWN_PIN:
		while(HAL_GPIO_ReadPin(eClock_HandleTypeDef.eClockHardware.BT_Down_Port,eClock_HandleTypeDef.eClockHardware.BT_Down_Pin) == GPIO_PIN_SET);
		osSignalSet(ActionTaskHandle,BUTTON_DOWN_SIGNAL);
		break;
	}
}

/* Read image from flash then display it on TFTLCD
 * image_id from 0 to 53 ( 54 Images )
 */
void Display_Image(W25QXX_Handle_TypeDef* flash_data, uint8_t image_id)
{
	if(image_id > 53) image_id = 53;
	uint8_t index;
	uint16_t _index;
	uint8_t * read_arr = (uint8_t*) malloc(1920);
	uint16_t temp;
	uint32_t start_add = image_id * 153600;

	if(read_arr != NULL)
	{
		W25_FLASH_WAKEUP(flash_data); //Wake up flash

		tft_address_set(0,0,tft_W-1,tft_H-1);

		for(index = 0 ; index < 80 ; index++) //80*1920 = 153600
		{
			W25_FLASH_READ_DATA( flash_data, start_add + (index * 1920), read_arr, 1920);
			for(_index = 0 ; _index < 1920 ; _index += 2)
			{
				temp = (read_arr[_index + 1]<<8) | read_arr[_index];
				tft_write_data(temp);
			}
		}

		W25_FLASH_PWR_DOWN(flash_data); // Turn off power of flash to reduce power consumtion
		free(read_arr);
	}
}

void Display_Template(W25QXX_Handle_TypeDef * flash_data, uint8_t img_id)
{

	Display_Image(flash_data,img_id);

	tft_fill(HOUR_LOCAL_ROW-2,HOUR_LOCAL_COLUMN-2, HOUR_LOCAL_ROW-1,239, COLOR_BLACK);
	tft_fill(HOUR_LOCAL_ROW-2,HOUR_LOCAL_COLUMN-2, 319,HOUR_LOCAL_COLUMN-1, COLOR_BLACK);

	tft_fill(MONTH_LOCAL_ROW-2,15, MONTH_LOCAL_ROW-1,110, COLOR_BLACK);
	tft_fill(MONTH_LOCAL_ROW-2,15, 319,16, COLOR_BLACK);

}

void Play_Speaker(GPIO_TypeDef* Speaker_port, uint16_t Speaker_pin, uint8_t number_of_play)
{
	for(uint8_t index = 0; index < number_of_play; index++)
	{
		HAL_GPIO_WritePin(Speaker_port,Speaker_pin,GPIO_PIN_SET);
		osDelay(100);
		HAL_GPIO_WritePin(Speaker_port,Speaker_pin,GPIO_PIN_RESET);
		osDelay(100);
	}
}

/* USER CODE END Application */

/************************ (C) COPYRIGHT STMicroelectronics *****END OF FILE****/
